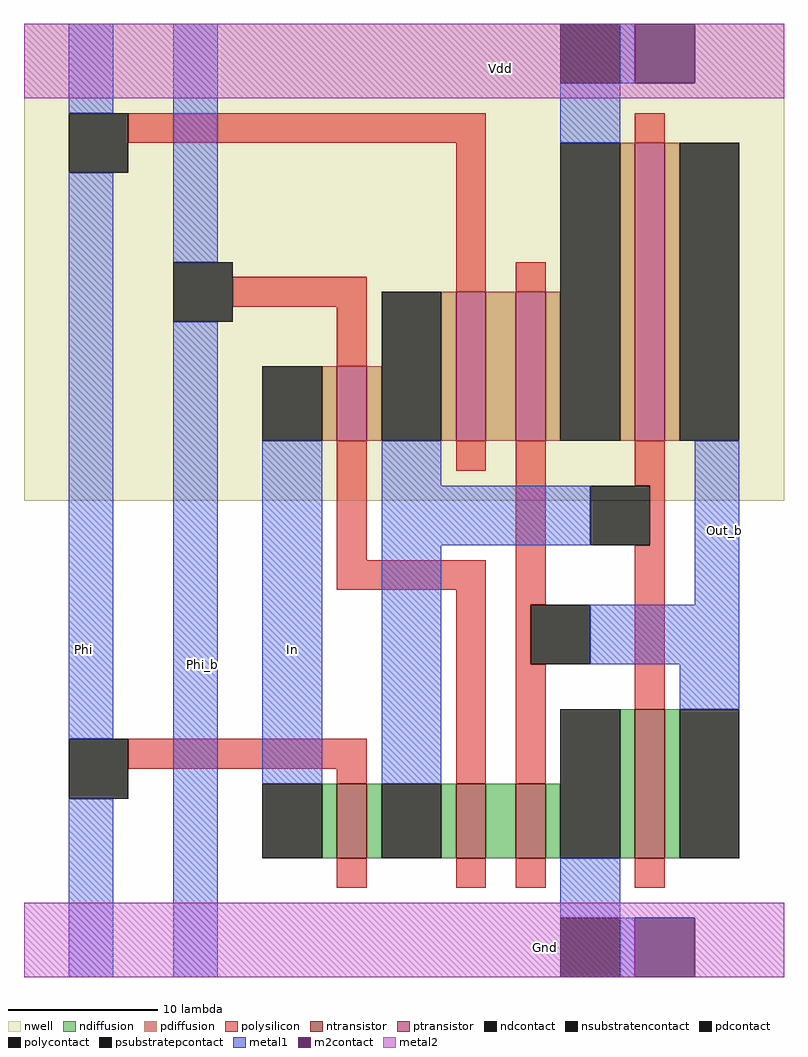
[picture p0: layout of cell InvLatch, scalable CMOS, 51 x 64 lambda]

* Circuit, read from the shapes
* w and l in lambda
.subckt InvLatch Gnd In Out_b Phi Phi_b Vdd
M1 n1 Phi In Gnd nfet w=5 l=2
M2 n2 Phi_b n1 Gnd nfet w=5 l=2
M3 Gnd Out_b n2 Gnd nfet w=5 l=2
M4 Out_b n1 Gnd Gnd nfet w=10 l=2
M5 n1 Phi_b In Vdd pfet w=5 l=2
M6 n3 Phi n1 Vdd pfet w=10 l=2
M7 Vdd Out_b n3 Vdd pfet w=10 l=2
M8 Out_b n1 Vdd Vdd pfet w=20 l=2
.ends

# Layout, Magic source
magic
tech scmos
<< nwell >>
rect -1 32 50 64
<< polysilicon >>
rect 6 56 30 58
rect 40 56 42 58
rect 13 45 22 47
rect 28 46 30 56
rect 32 46 34 48
rect 20 41 22 45
rect 20 28 22 36
rect 28 34 30 36
rect 20 26 30 28
rect 6 14 22 16
rect 20 13 22 14
rect 28 13 30 26
rect 32 25 34 36
rect 40 33 42 36
rect 41 29 42 33
rect 32 21 33 25
rect 32 13 34 21
rect 40 18 42 29
rect 20 6 22 8
rect 28 6 30 8
rect 32 6 34 8
rect 40 6 42 8
<< ndiffusion >>
rect 19 8 20 13
rect 22 8 23 13
rect 27 8 28 13
rect 30 8 32 13
rect 34 8 35 13
rect 39 8 40 18
rect 42 8 43 18
<< pdiffusion >>
rect 19 36 20 41
rect 22 36 23 41
rect 27 36 28 46
rect 30 36 32 46
rect 34 36 35 46
rect 39 36 40 56
rect 42 36 43 56
<< metal1 >>
rect 2 58 5 64
rect 2 16 5 54
rect 9 48 12 64
rect 39 60 40 64
rect 35 56 39 60
rect 2 0 5 12
rect 9 0 12 44
rect 15 13 19 36
rect 23 33 27 36
rect 23 29 37 33
rect 23 13 27 29
rect 44 25 47 36
rect 37 21 47 25
rect 43 18 47 21
rect 35 4 39 8
rect 39 0 40 4
<< metal2 >>
rect -1 60 40 64
rect 44 60 50 64
rect -1 59 50 60
rect -1 4 50 5
rect -1 0 40 4
rect 44 0 50 4
<< ntransistor >>
rect 20 8 22 13
rect 28 8 30 13
rect 32 8 34 13
rect 40 8 42 18
<< ptransistor >>
rect 20 36 22 41
rect 28 36 30 46
rect 32 36 34 46
rect 40 36 42 56
<< polycontact >>
rect 2 54 6 58
rect 9 44 13 48
rect 2 12 6 16
rect 37 29 41 33
rect 33 21 37 25
<< ndcontact >>
rect 15 8 19 13
rect 23 8 27 13
rect 35 8 39 18
rect 43 8 47 18
<< pdcontact >>
rect 15 36 19 41
rect 23 36 27 46
rect 35 36 39 56
rect 43 36 47 56
<< m2contact >>
rect 40 60 44 64
rect 40 0 44 4
<< psubstratepcontact >>
rect 35 0 39 4
<< nsubstratencontact >>
rect 35 60 39 64
<< labels >>
rlabel metal2 34 2 34 2 1 Gnd
rlabel metal1 11 21 11 21 1 Phi_b
rlabel metal1 3 22 3 22 1 Phi
rlabel metal2 31 61 31 61 1 Vdd
rlabel metal1 17 22 17 22 1 In
rlabel metal1 46 30 46 30 1 Out_b
<< end >>
